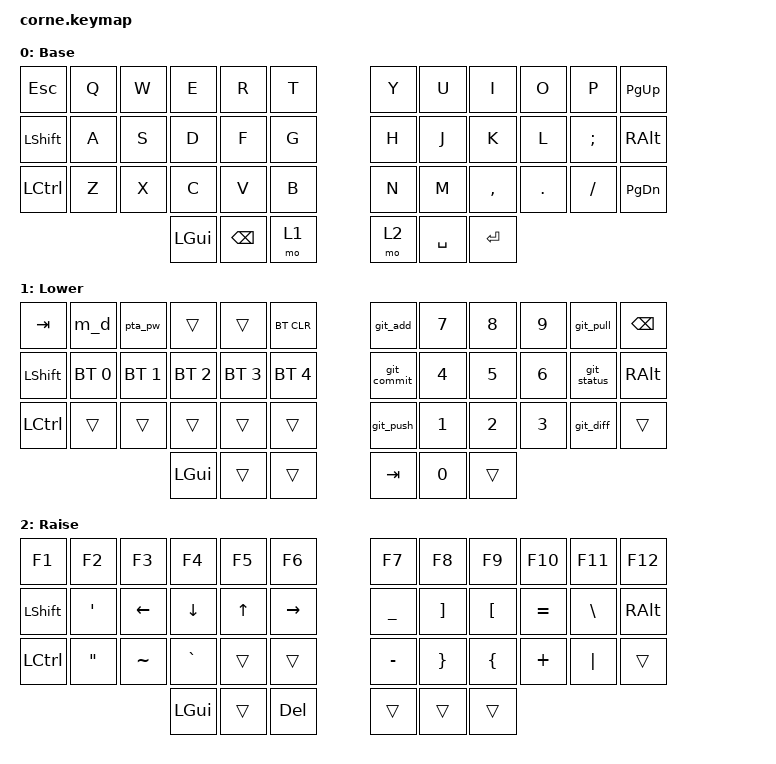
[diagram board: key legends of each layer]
/*
 * Copyright (c) 2020 The ZMK Contributors
 *
 * SPDX-License-Identifier: MIT
 */

#include <behaviors.dtsi>
#include <dt-bindings/zmk/keys.h>
#include <dt-bindings/zmk/bt.h>

/*
 * Start of macros
 */
/ {
    macros {
        ZMK_MACRO(
            git_pull,
            wait-ms = <30>;
            tap-ms = <30>;
            bindings 
                = <&kp G &kp I &kp T>
                , <&kp SPACE>
                , <&kp P &kp U &kp L &kp L>
            ;
        )

        ZMK_MACRO(
            git_status,
            wait-ms = <30>;
            tap-ms = <30>;
            bindings 
                = <&kp G &kp I &kp T>
                , <&kp SPACE>
                , <&kp S &kp T &kp A &kp T &kp U &kp S>
            ;
        )

        ZMK_MACRO(
            git_diff,
            wait-ms = <30>;
            tap-ms = <30>;
            bindings 
                = <&kp G &kp I &kp T>
                , <&kp SPACE>
                , <&kp D &kp I &kp F &kp F>
            ;
        )

        ZMK_MACRO(
            git_add,
            wait-ms = <30>;
            tap-ms = <30>;
            bindings 
                = <&kp G &kp I &kp T>
                , <&kp SPACE>
                , <&kp A &kp D &kp D>
                , <&kp SPACE>
                , <&kp DOT>
            ;
        )

        ZMK_MACRO(
            git_commit,
            wait-ms = <30>;
            tap-ms = <30>;
            bindings 
                = <&kp G &kp I &kp T>
                , <&kp SPACE>
                , <&kp C &kp O &kp M &kp M &kp I &kp T>
                , <&kp SPACE>
                , <&kp MINUS &kp M>
                , <&kp SPACE>
                , <&kp DQT &kp LBKT &kp RBKT>
                , <&kp SPACE>
                , <&kp MINUS>
                , <&kp SPACE>
                , <&kp DQT>
                , <&kp LEFT &kp LEFT &kp LEFT &kp LEFT &kp LEFT>
            ;
        )

        ZMK_MACRO(
            git_push,
            wait-ms = <30>;
            tap-ms = <30>;
            bindings 
                = <&kp G &kp I &kp T>
                , <&kp SPACE>
                , <&kp P &kp U &kp S &kp H>
            ;
        )

        ZMK_MACRO(
            m_d,
            wait-ms = <30>;
            tap-ms = <30>;
            bindings 
                = <&kp M &kp I &kp C &kp H &kp A &kp E &kp L>
                , <&kp DOT>
                , <&kp D &kp R &kp I &kp N &kp K &kp W &kp A &kp T &kp E &kp R>
            ;
        )

        ZMK_MACRO(
            pta_pw,
            wait-ms = <30>;
            tap-ms = <30>;
            bindings 
                = <&macro_press   &kp LSHFT>
                , <&macro_tap     &kp N>
                , <&macro_release &kp LSHFT>
                , <&macro_tap     &kp J &kp N6 &kp O> 
                , <&macro_press   &kp LSHFT>
                , <&macro_tap     &kp T>
                , <&macro_release &kp LSHFT>
                , <&macro_tap     &kp G>
                , <&macro_press   &kp LSHFT>
                , <&macro_tap     &kp E &kp U>
                , <&macro_release &kp LSHFT>
                , <&macro_tap     &kp X &kp N8 &kp HASH &kp I>
                , <&macro_press   &kp LSHFT>
                , <&macro_tap     &kp X &kp E>
                , <&macro_release &kp LSHFT>
                , <&macro_tap     &kp P &kp HASH>
                , <&macro_press   &kp LSHFT>
                , <&macro_tap     &kp M>
                , <&macro_release &kp LSHFT>
                , <&macro_tap     &kp M>
            ;
        )
    };
};

/*
 * Start of keymap
 */
/ {
        keymap {
                compatible = "zmk,keymap";

                default_layer {
// -----------------------------------------------------------------------------------------
// | ESC  |  Q  |  W  |  E  |  R  |  T  |   |  Y  |  U   |  I  |  O  |  P  | PG_UP |
// | SHFT |  A  |  S  |  D  |  F  |  G  |   |  H  |  J   |  K  |  L  |  ;  | ALT   |
// | CTRL |  Z  |  X  |  C  |  V  |  B  |   |  N  |  M   |  ,  |  .  |  /  | PG_DN |
//                    | GUI | BKSP| LWR |   | RSE | SPC  | ENT |
                        label = "Base";
                        bindings = <
   &kp ESC   &kp Q &kp W &kp E &kp R &kp T   &kp Y &kp U  &kp I     &kp O   &kp P    &kp PG_UP
   &kp LSHFT &kp A &kp S &kp D &kp F &kp G   &kp H &kp J  &kp K     &kp L   &kp SEMI &kp RALT
   &kp LCTRL &kp Z &kp X &kp C &kp V &kp B   &kp N &kp M  &kp COMMA &kp DOT &kp FSLH &kp PG_DN
                  &kp LGUI &kp BSPC  &mo 1   &mo 2 &kp SPACE &kp RET
                        >;
                };

                lower_layer {
// -----------------------------------------------------------------------------------------
// | TAB  | M   | M   |     |     |BTCLR|   | M   |  7  |  8  |  9  | M   | BKSP |
// | SHFT | BT1 | BT2 | BT3 | BT4 | BT5 |   | M   |  4  |  5  |  6  | M   | ALT  |
// | CTRL |     |     |     |     |     |   | M   |  1  |  2  |  3  | M   |      |
//                    | GUI |     |     |   | TAB |  0  |     |
                        label = "Lower";
                        bindings = <
   &kp TAB   &m_d &pta_pw &trans &trans &bt BT_CLR &git_add &kp N7   &kp N8 &kp N9    &git_pull &kp BSPC
   &kp LSHFT &bt BT_SEL 0 &bt BT_SEL 1 &bt BT_SEL 2 &bt BT_SEL 3 &bt BT_SEL 4   &git_commit &kp N4 &kp N5 &kp N6    &git_status    &kp RALT
   &kp LCTRL &trans       &trans       &trans       &trans       &trans       &git_push &kp N1   &kp N2 &kp N3    &git_diff &trans
                          	        &kp LGUI     &trans       &trans      &kp TAB &kp N0  &trans
                        >;
                };

                raise_layer {
// -----------------------------------------------------------------------------------------
// |  F1  |  F2 |  F3 |  F4 |  F5 |     |  F6 |  F7 |  F8 |  F9 |  F10|  F11|  F12 |
// | SHFT |  '  |LEFT |DOWN |  UP |RIGHT|     |  _  |  ]  |  [  |  =  |  \  |  ALT |
// | CTRL |  "  |  ~  |  `  |     |     |     |  -  |  }  |  {  |  +  | "|" |      |
//                    | GUI |     | DEL |     |     |     |     |
                        label = "Raise";
                        bindings = <
   &kp  F1  &kp  F2  &kp  F3  &kp  F4  &kp  F5  &kp  F6  &kp  F7  &kp  F8  &kp  F9  &kp  F10  &kp  F11  &kp  F12
   &kp LSHFT &kp SQT &kp LEFT &kp DOWN   &kp UP   &kp RIGHT      &kp UNDER &kp RBKT &kp LBKT &kp EQUAL &kp BSLH &kp RALT
   &kp LCTRL &kp DQT &kp TILDE &kp GRAVE &trans   &trans      &kp MINUS &kp RBRC &kp LBRC &kp PLUS &kp PIPE &trans 
                    	     &kp LGUI &trans &kp DEL   &trans &trans &trans
                        >;
                };
        };
};
